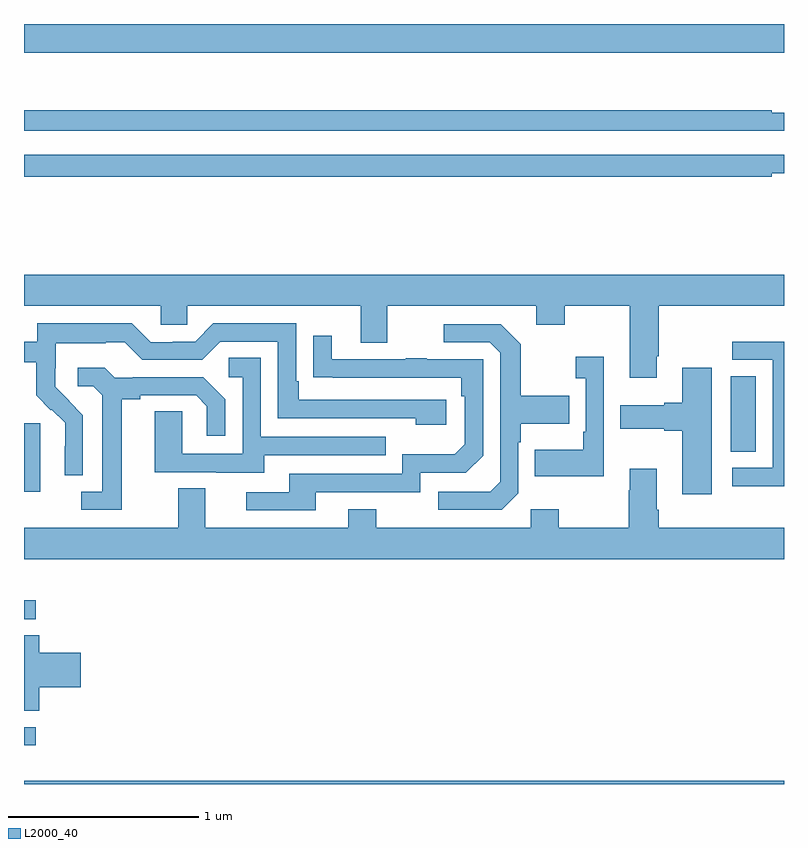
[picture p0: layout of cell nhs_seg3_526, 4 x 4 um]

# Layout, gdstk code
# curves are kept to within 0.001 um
import gdstk
lib = gdstk.Library(unit=1e-6, precision=1e-09)
def R(c, l, rs):  # rectangles x0, y0, x1, y1
    for r in rs: c.add(gdstk.rectangle(r[:2], r[2:], *l))
def P(c, l, *ps):  # polygons
    for p in ps: c.add(gdstk.Polygon(p, *l))
L2000_40 = (2000, 40)

nhs_seg3_526 = lib.new_cell('nhs_seg3_526')
R(nhs_seg3_526, L2000_40, [(137,698.4,141,698.416), (137,698.604,137.062,698.7), (137,699.267,137.062,699.366), (137,699.938,137.086,700.299), (140.72,700.15,140.851,700.547), (137,702.248,141,702.4)])
P(nhs_seg3_526, L2000_40, [(141,701.934),(140.936,701.934),(140.936,701.947),(137,701.947),(137,701.838),(141,701.838)],
  [(140.936,701.615),(141,701.615),(141,701.712),(137,701.712),(137,701.596),(140.936,701.596)],
  [(140.329,700.651),(140.342,700.651),(140.342,700.916),(141,700.916),(141,701.08),(137,701.08),(137,700.916),(137.721,700.916),(137.721,700.818),(137.859,700.818),(137.859,700.916),(138.773,700.916),(138.773,700.722),(138.913,700.722),(138.913,700.916),(139.697,700.916),(139.697,700.817),(139.845,700.817),(139.845,700.916),(140.189,700.916),(140.189,700.539),(140.329,700.539)],
  [(137.31,700.342),(137.164,700.49),(137.164,700.587),(137.166,700.587),(137.166,700.721),(137.429,700.721),(137.429,700.725),(137.529,700.725),(137.622,700.632),(137.937,700.632),(138.033,700.728),(138.336,700.728),(138.336,700.326),(139.061,700.326),(139.061,700.292),(139.222,700.292),(139.222,700.422),(138.445,700.422),(138.445,700.519),(138.432,700.519),(138.432,700.824),(137.997,700.824),(137.901,700.728),(137.783,700.728),(137.783,700.725),(137.667,700.725),(137.567,700.825),(137.07,700.825),(137.07,700.728),(137,700.728),(137,700.62),(137.065,700.62),(137.065,700.445),(137.142,700.368),(137.145,700.371),(137.216,700.301),(137.216,700.178),(137.214,700.178),(137.214,700.024),(137.31,700.024)],
  [(139.602,699.93),(139.602,700.199),(139.615,700.199),(139.615,700.295),(139.871,700.295),(139.871,700.443),(139.615,700.443),(139.615,700.715),(139.509,700.821),(139.209,700.821),(139.209,700.725),(139.452,700.725),(139.506,700.671),(139.506,699.99),(139.455,699.939),(139.179,699.939),(139.179,699.843),(139.515,699.843)],
  [(138.535,699.936),(139.086,699.936),(139.086,700.038),(139.326,700.038),(139.416,700.128),(139.416,700.635),(139.121,700.635),(139.121,700.64),(139.009,700.64),(139.009,700.635),(138.619,700.635),(138.619,700.759),(138.523,700.759),(138.523,700.54),(139.3,700.539),(139.3,700.442),(139.32,700.442),(139.32,700.188),(139.267,700.135),(138.99,700.135),(138.99,700.032),(138.395,700.032),(138.395,699.936),(138.171,699.936),(138.171,699.84),(138.535,699.84)],
  [(141,700.728),(140.727,700.728),(140.727,700.632),(140.94,700.632),(140.94,700.065),(140.727,700.065),(140.727,699.967),(141,699.967)],
  [(140.052,700.648),(139.905,700.648),(139.905,700.535),(139.956,700.535),(139.956,700.255),(139.944,700.255),(139.944,700.159),(139.687,700.159),(139.687,700.019),(140.052,700.019)],
  [(138.265,700.131),(138.905,700.131),(138.905,700.227),(138.246,700.227),(138.246,700.643),(138.078,700.643),(138.078,700.542),(138.15,700.542),(138.15,700.137),(137.832,700.137),(137.832,700.361),(137.687,700.361),(137.687,700.041),(138.011,700.041),(138.011,700.037),(138.265,700.037)],
  [(140.62,700.591),(140.465,700.591),(140.465,700.406),(140.369,700.406),(140.369,700.393),(140.139,700.393),(140.139,700.271),(140.369,700.271),(140.369,700.259),(140.465,700.259),(140.465,699.924),(140.62,699.924)],
  [(137.515,700.424),(137.611,700.424),(137.611,700.446),(137.906,700.446),(137.963,700.389),(137.963,700.233),(138.06,700.233),(138.06,700.426),(137.944,700.542),(137.572,700.542),(137.572,700.539),(137.478,700.539),(137.426,700.591),(137.283,700.591),(137.283,700.494),(137.364,700.494),(137.411,700.447),(137.411,699.939),(137.301,699.939),(137.301,699.843),(137.515,699.843)],
  [(141,699.748),(140.342,699.748),(140.342,699.844),(140.329,699.844),(140.329,700.06),(140.189,700.06),(140.189,699.947),(140.182,699.947),(140.182,699.748),(139.815,699.748),(139.815,699.847),(139.668,699.847),(139.668,699.748),(138.855,699.748),(138.855,699.847),(138.707,699.847),(138.707,699.748),(137.953,699.748),(137.953,699.956),(137.813,699.956),(137.813,699.748),(137,699.748),(137,699.584),(141,699.584)],
  [(137.081,698.909),(137.299,698.909),(137.299,699.092),(137.081,699.092),(137.081,699.182),(137,699.182),(137,698.785),(137.081,698.785)])

lib.write_gds('nhs_seg3_526.gds')
